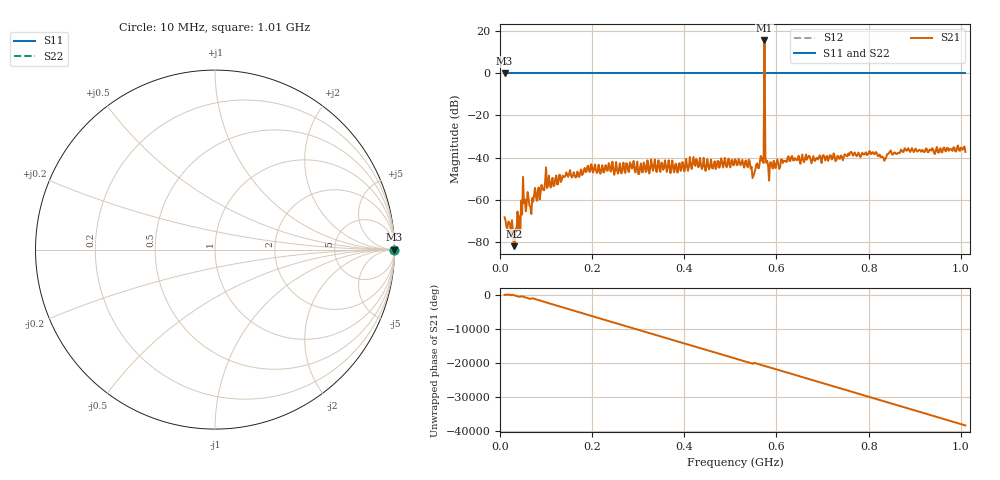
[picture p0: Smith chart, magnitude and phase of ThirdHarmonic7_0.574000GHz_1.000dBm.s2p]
! 8/17/2025 5:44:24 PM
! C:\ANRITSUVNA\TEMP\TEMP.S2P
! CHANNEL.1
! TR.MEASUREMENT
! RAW.DATA
! RF.CORRECTION.OFF
! AVERAGING.OFF
! IF.BANDWIDTH: 5KHZ
! SWEEPTYPE:  FREQ.SWEEP(Linear)
! Reference Plane Port Info
! PORT:  PORT1  PORT2
! DISTANCE:  0  m  0  m
! TIME:  0  s  0  s
! PHASE.OFFSET:  0  deg.  0  deg.
! LOSS:  0  dB  0  dB
! REF.LOSS:  0  dB  0  dB
! REF.FREQ:  0  Hz  0  Hz
! Power Info
! POWER:  -20  dBm  -20  dBm
! EFF.POWER:  -20  dBm  -20  dBm
! SOURCE.ATTEN:  0  dB  0  dB
! TEST.ATTEN:  0  dB  0  dB
# GHZ S RI R 50.0
! FREQ.GHZ  S11RE  S11IM  S21RE  S21IM  S12RE  S12IM  S22RE  S22IM
!; PortSelection: Port_12
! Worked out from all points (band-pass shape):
!   501 points, 10 MHz to 1.01 GHz, reference 50 ohm
!   highest |S21| = 15.71 dB at 574 MHz (marker M1); lowest = -82.2 dB at 30 MHz (marker M2)
!   |S21| within 3 dB of the highest: 573.8972 MHz to 574.1077 MHz (210.6 kHz wide, 0.0367 % of centre)
!   lowest |S11| = 0.0 dB at 10 MHz (marker M3)
!   |S11| at or under -10 dB: nowhere
!   |S22| runs from 0.0 to 0.0 dB; largest |S21 - S12| = 6.9
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0.01  1 0  -0.000329 0.000187  1 0  1 0
0.03  1 0  5.8e-06 7.74e-05  1 0  1 0
0.044  1 0  0.000127 -7.17e-05  1 0  1 0
0.05  1 0  0.00342 0.000493  1 0  1 0
0.068  1 0  -0.000313 0.000326  1 0  1 0
0.102  1 0  0.00172 0.000724  1 0  1 0
0.114  1 0  -0.0012 -0.00305  1 0  1 0
0.178  1 0  -0.00372 -0.00093  1 0  1 0
0.344  1 0  0.00835 -0.00209  1 0  1 0
0.51  1 0  -0.00855 -0.0033  1 0  1 0
0.538  1 0  -0.0052 0.00279  1 0  1 0
0.55  1 0  -0.00254 -0.00269  1 0  1 0
0.568  1 0  0.00738 0.00416  1 0  1 0
0.57  1 0  0.00538 -0.00791  1 0  1 0
0.574  1 0  -4.369 -4.258  1 0  1 0
0.578  1 0  0.00751 -0.000585  1 0  1 0
0.58  1 0  -0.00203 -0.00806  1 0  1 0
0.678  1 0  0.00539 -0.00704  1 0  1 0
0.806  1 0  -0.0115 -0.00377  1 0  1 0
0.834  1 0  -0.00771 0.00315  1 0  1 0
0.844  1 0  -0.00802 0.00995  1 0  1 0
1.01  1 0  0.00214 -0.0134  1 0  1 0
